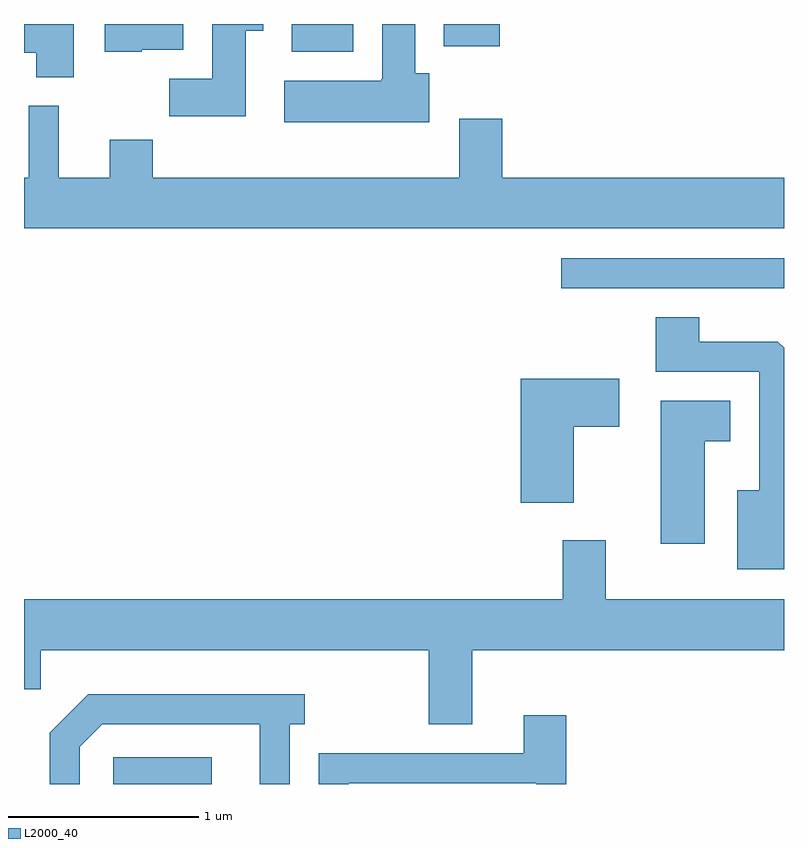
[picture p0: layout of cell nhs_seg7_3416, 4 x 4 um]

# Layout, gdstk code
import gdstk
lib = gdstk.Library(unit=1e-6, precision=1e-09)
def R(c, l, rs):  # rectangles x0, y0, x1, y1
    for r in rs: c.add(gdstk.rectangle(r[:2], r[2:], *l))
def P(c, l, *ps):  # polygons
    for p in ps: c.add(gdstk.Polygon(p, *l))
L2000_40 = (2000, 40)

nhs_seg7_3416 = lib.new_cell('nhs_seg7_3416')
R(nhs_seg7_3416, L2000_40, [(290.081,1740.252,290.598,1740.394), (292.438,1742.861,293.611,1743.019), (291.021,1744.106,291.344,1744.252), (291.821,1744.136,292.114,1744.252)])
P(nhs_seg7_3416, L2000_40, [(290.779,1744.216),(290.869,1744.216),(290.869,1744.252),(290.601,1744.252),(290.601,1743.964),(290.376,1743.964),(290.376,1743.766),(290.779,1743.766)],
  [(289.874,1744.252),(289.611,1744.252),(289.611,1744.101),(289.676,1744.101),(289.676,1743.971),(289.874,1743.971)],
  [(291.744,1743.994),(291.669,1743.994),(291.669,1744.252),(291.496,1744.252),(291.496,1743.96),(291.49,1743.96),(291.49,1743.954),(290.981,1743.954),(290.981,1743.736),(291.744,1743.736)],
  [(290.23,1744.116),(290.449,1744.116),(290.449,1744.252),(290.036,1744.252),(290.036,1744.106),(290.23,1744.106)],
  [(293.611,1743.444),(292.129,1743.444),(292.129,1743.754),(291.901,1743.754),(291.901,1743.444),(290.289,1743.444),(290.289,1743.644),(290.061,1743.644),(290.061,1743.444),(289.794,1743.444),(289.794,1743.823),(289.636,1743.823),(289.636,1743.444),(289.611,1743.444),(289.611,1743.176),(293.611,1743.176)],
  [(293.611,1742.547),(293.579,1742.579),(293.164,1742.579),(293.164,1742.709),(292.936,1742.709),(292.936,1742.421),(293.481,1742.421),(293.481,1741.799),(293.366,1741.799),(293.366,1741.381),(293.611,1741.381)],
  [(292.504,1742.131),(292.744,1742.131),(292.744,1742.384),(292.226,1742.384),(292.226,1741.731),(292.504,1741.731)],
  [(293.194,1742.056),(293.329,1742.056),(293.329,1742.269),(292.961,1742.269),(292.961,1741.516),(293.194,1741.516)],
  [(291.969,1740.956),(293.611,1740.956),(293.611,1741.224),(292.674,1741.224),(292.674,1741.534),(292.446,1741.534),(292.446,1741.224),(289.611,1741.224),(289.611,1740.751),(289.699,1740.751),(289.699,1740.956),(291.741,1740.956),(291.741,1740.566),(291.969,1740.566)],
  [(289.904,1740.449),(290.022,1740.566),(290.851,1740.566),(290.851,1740.252),(291.009,1740.252),(291.009,1740.566),(291.088,1740.566),(291.088,1740.724),(289.949,1740.724),(289.746,1740.522),(289.746,1740.252),(289.904,1740.252)],
  [(291.319,1740.256),(292.306,1740.256),(292.306,1740.252),(292.464,1740.252),(292.464,1740.614),(292.241,1740.614),(292.241,1740.414),(291.161,1740.414),(291.161,1740.252),(291.319,1740.252)])

lib.write_gds('nhs_seg7_3416.gds')
